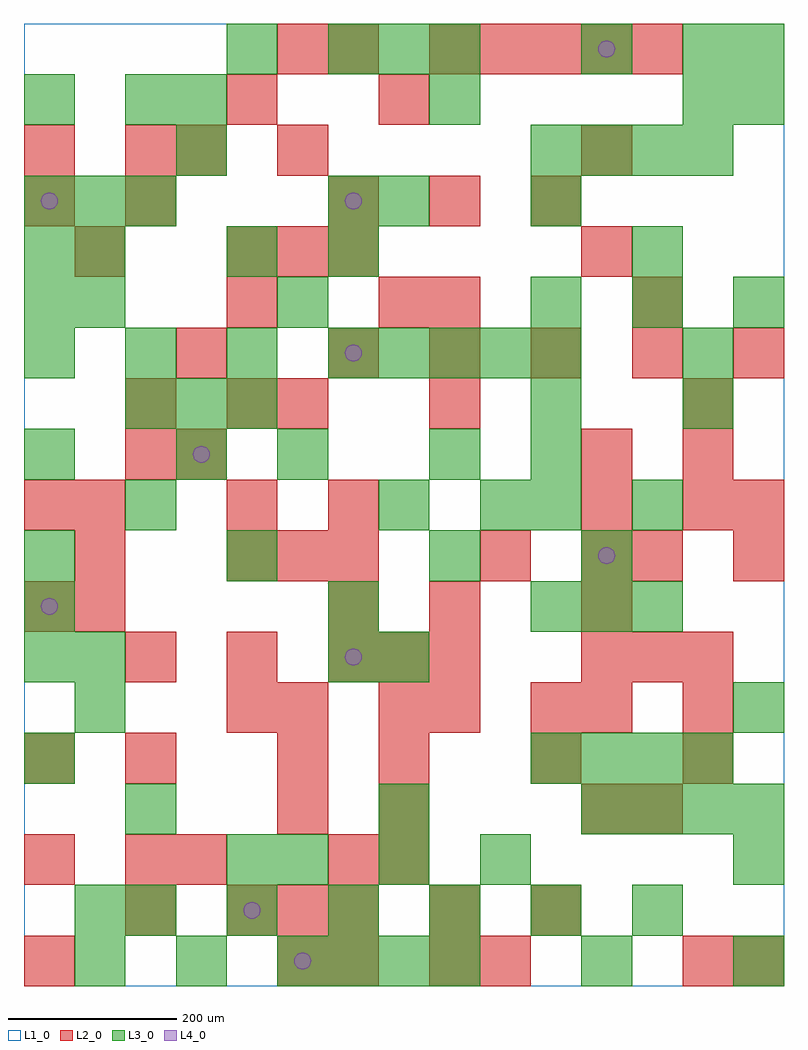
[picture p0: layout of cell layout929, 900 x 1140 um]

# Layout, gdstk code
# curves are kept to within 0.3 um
import gdstk
lib = gdstk.Library(unit=1e-6, precision=1e-09)
def R(c, l, rs):  # rectangles x0, y0, x1, y1
    for r in rs: c.add(gdstk.rectangle(r[:2], r[2:], *l))
def A(c, l, x, y, w, h, nx, ny, dx, dy):  # array of equal rectangles
    R(c, l, [(x+i*dx, y+j*dy, x+i*dx+w, y+j*dy+h) for i in range(nx) for j in range(ny)])
def P(c, l, *ps):  # polygons
    for p in ps: c.add(gdstk.Polygon(p, *l))
L1_0 = (1, 0)
L2_0 = (2, 0)
L3_0 = (3, 0)
L4_0 = (4, 0)

layout929 = lib.new_cell('layout929')
R(layout929, L1_0, [(0,0,900,1140)])
A(layout929, L2_0, 0, 0, 60, 60, 1, 3, 0, 120)
A(layout929, L2_0, 240, 60, 60, 60, 3, 2, 60, 420)
A(layout929, L2_0, 300, 180, 60, 60, 1, 3, 0, 60)
A(layout929, L2_0, 660, 180, 60, 60, 1, 3, 0, 120)
A(layout929, L2_0, 720, 180, 60, 60, 1, 3, 0, 300)
A(layout929, L2_0, 420, 240, 60, 60, 3, 1, 180, 0)
A(layout929, L2_0, 480, 300, 60, 60, 1, 3, 0, 60)
A(layout929, L2_0, 120, 360, 60, 60, 3, 1, 120, 0)
A(layout929, L2_0, 660, 360, 60, 60, 3, 1, 60, 0)
A(layout929, L2_0, 60, 420, 60, 60, 1, 3, 0, 60)
A(layout929, L2_0, 660, 480, 60, 60, 1, 3, 0, 60)
A(layout929, L2_0, 240, 540, 60, 60, 1, 3, 0, 120)
A(layout929, L2_0, 780, 540, 60, 60, 1, 3, 0, 60)
A(layout929, L2_0, 360, 720, 60, 60, 5, 1, 120, 0)
A(layout929, L2_0, 240, 840, 60, 60, 3, 1, 60, 0)
A(layout929, L2_0, 360, 900, 60, 60, 3, 1, 120, 0)
A(layout929, L2_0, 480, 1080, 60, 60, 5, 1, 60, 0)
R(layout929, L2_0, [(300,0,360,60), (360,0,420,60), (480,0,540,60), (540,0,600,60), (780,0,840,60), (840,0,900,60), (120,60,180,120), (480,60,540,120), (600,60,660,120), (120,120,180,180), (180,120,240,180), (360,120,420,180), (420,120,480,180), (420,180,480,240), (120,240,180,300), (240,300,300,360), (420,300,480,360), (600,300,660,360), (780,300,840,360), (420,360,480,420), (0,420,60,480), (360,420,420,480), (540,480,600,540), (840,480,900,540), (0,540,60,600), (360,540,420,600), (840,540,900,600), (120,600,180,660), (180,600,240,660), (120,660,180,720), (300,660,360,720), (480,660,540,720), (180,720,240,780), (420,780,480,840), (480,780,540,840), (60,840,120,900), (660,840,720,900), (0,900,60,960), (120,900,180,960), (0,960,60,1020), (120,960,180,1020), (180,960,240,1020), (300,960,360,1020), (660,960,720,1020), (240,1020,300,1080), (420,1020,480,1080), (300,1080,360,1140), (360,1080,420,1140)])
A(layout929, L3_0, 60, 0, 60, 60, 3, 1, 120, 0)
A(layout929, L3_0, 360, 0, 60, 60, 3, 2, 60, 1080)
A(layout929, L3_0, 120, 60, 60, 60, 6, 1, 120, 0)
A(layout929, L3_0, 300, 120, 60, 60, 3, 1, 120, 0)
A(layout929, L3_0, 420, 180, 60, 60, 1, 3, 0, 180)
A(layout929, L3_0, 660, 180, 60, 60, 4, 1, 60, 0)
A(layout929, L3_0, 600, 240, 60, 60, 4, 2, 60, 720)
A(layout929, L3_0, 0, 420, 60, 60, 1, 3, 0, 180)
A(layout929, L3_0, 600, 420, 60, 60, 3, 1, 60, 0)
A(layout929, L3_0, 0, 480, 60, 60, 3, 1, 240, 0)
A(layout929, L3_0, 600, 540, 60, 60, 1, 3, 0, 60)
A(layout929, L3_0, 120, 660, 60, 60, 3, 1, 60, 0)
A(layout929, L3_0, 0, 720, 60, 60, 4, 1, 120, 0)
A(layout929, L3_0, 420, 720, 60, 60, 4, 1, 60, 0)
A(layout929, L3_0, 600, 780, 60, 60, 3, 1, 120, 0)
A(layout929, L3_0, 0, 900, 60, 60, 3, 1, 60, 0)
A(layout929, L3_0, 180, 1020, 60, 60, 3, 1, 300, 0)
R(layout929, L3_0, [(660,0,720,60), (840,0,900,60), (60,60,120,120), (240,120,300,180), (840,120,900,180), (120,180,180,240), (0,240,60,300), (60,300,120,360), (840,300,900,360), (0,360,60,420), (60,360,120,420), (360,360,420,420), (360,420,420,480), (660,480,720,540), (120,540,180,600), (540,540,600,600), (720,540,780,600), (180,600,240,660), (300,600,360,660), (480,600,540,660), (780,660,840,720), (780,720,840,780), (60,780,120,840), (300,780,360,840), (0,840,60,900), (60,840,120,900), (240,840,300,900), (360,840,420,900), (720,840,780,900), (360,900,420,960), (420,900,480,960), (600,900,660,960), (180,960,240,1020), (0,1020,60,1080), (120,1020,180,1080), (840,1020,900,1080), (240,1080,300,1140), (660,1080,720,1140), (780,1080,840,1140), (840,1080,900,1140)])
P(layout929, L4_0, [(40,450),(39.239,453.827),(37.071,457.071),(33.827,459.239),(30,460),(26.173,459.239),(22.929,457.071),(20.761,453.827),(20,450),(20.761,446.173),(22.929,442.929),(26.173,440.761),(30,440),(33.827,440.761),(37.071,442.929),(39.239,446.173)],
  [(40,930),(39.239,933.827),(37.071,937.071),(33.827,939.239),(30,940),(26.173,939.239),(22.929,937.071),(20.761,933.827),(20,930),(20.761,926.173),(22.929,922.929),(26.173,920.761),(30,920),(33.827,920.761),(37.071,922.929),(39.239,926.173)],
  [(220,630),(219.239,633.827),(217.071,637.071),(213.827,639.239),(210,640),(206.173,639.239),(202.929,637.071),(200.761,633.827),(200,630),(200.761,626.173),(202.929,622.929),(206.173,620.761),(210,620),(213.827,620.761),(217.071,622.929),(219.239,626.173)],
  [(280,90),(279.239,93.827),(277.071,97.071),(273.827,99.239),(270,100),(266.173,99.239),(262.929,97.071),(260.761,93.827),(260,90),(260.761,86.173),(262.929,82.929),(266.173,80.761),(270,80),(273.827,80.761),(277.071,82.929),(279.239,86.173)],
  [(340,30),(339.239,33.827),(337.071,37.071),(333.827,39.239),(330,40),(326.173,39.239),(322.929,37.071),(320.761,33.827),(320,30),(320.761,26.173),(322.929,22.929),(326.173,20.761),(330,20),(333.827,20.761),(337.071,22.929),(339.239,26.173)],
  [(400,390),(399.239,393.827),(397.071,397.071),(393.827,399.239),(390,400),(386.173,399.239),(382.929,397.071),(380.761,393.827),(380,390),(380.761,386.173),(382.929,382.929),(386.173,380.761),(390,380),(393.827,380.761),(397.071,382.929),(399.239,386.173)],
  [(400,750),(399.239,753.827),(397.071,757.071),(393.827,759.239),(390,760),(386.173,759.239),(382.929,757.071),(380.761,753.827),(380,750),(380.761,746.173),(382.929,742.929),(386.173,740.761),(390,740),(393.827,740.761),(397.071,742.929),(399.239,746.173)],
  [(400,930),(399.239,933.827),(397.071,937.071),(393.827,939.239),(390,940),(386.173,939.239),(382.929,937.071),(380.761,933.827),(380,930),(380.761,926.173),(382.929,922.929),(386.173,920.761),(390,920),(393.827,920.761),(397.071,922.929),(399.239,926.173)],
  [(700,510),(699.239,513.827),(697.071,517.071),(693.827,519.239),(690,520),(686.173,519.239),(682.929,517.071),(680.761,513.827),(680,510),(680.761,506.173),(682.929,502.929),(686.173,500.761),(690,500),(693.827,500.761),(697.071,502.929),(699.239,506.173)],
  [(700,1110),(699.239,1113.827),(697.071,1117.071),(693.827,1119.239),(690,1120),(686.173,1119.239),(682.929,1117.071),(680.761,1113.827),(680,1110),(680.761,1106.173),(682.929,1102.929),(686.173,1100.761),(690,1100),(693.827,1100.761),(697.071,1102.929),(699.239,1106.173)])

lib.write_gds('layout929.gds')
